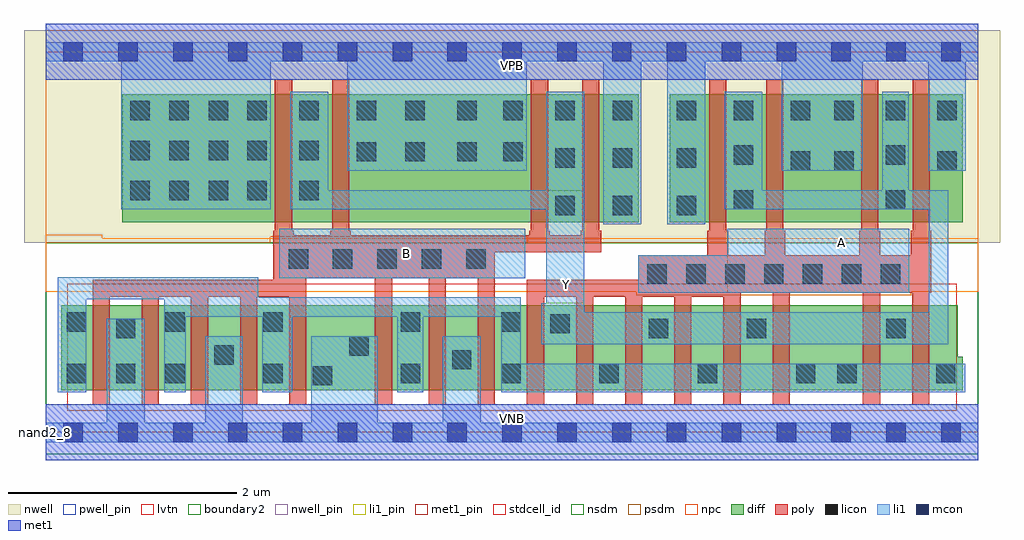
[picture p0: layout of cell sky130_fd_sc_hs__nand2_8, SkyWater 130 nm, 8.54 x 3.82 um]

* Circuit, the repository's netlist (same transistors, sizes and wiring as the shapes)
* Copyright 2020 The SkyWater PDK Authors
*
* Licensed under the Apache License, Version 2.0 (the "License");
* you may not use this file except in compliance with the License.
* You may obtain a copy of the License at
*
*     https://www.apache.org/licenses/LICENSE-2.0
*
* Unless required by applicable law or agreed to in writing, software
* distributed under the License is distributed on an "AS IS" BASIS,
* WITHOUT WARRANTIES OR CONDITIONS OF ANY KIND, either express or implied.
* See the License for the specific language governing permissions and
* limitations under the License.
*
* SPDX-License-Identifier: Apache-2.0


.subckt sky130_fd_sc_hs__nand2_8 A B VGND VNB VPB VPWR Y
X0 VGND B a_27_74# VNB sky130_fd_pr__nfet_01v8_lvt w=740000u l=150000u
X1 Y A a_27_74# VNB sky130_fd_pr__nfet_01v8_lvt w=740000u l=150000u
X2 Y B VPWR VPB sky130_fd_pr__pfet_01v8 w=1.12 l=150000u
X3 a_27_74# B VGND VNB sky130_fd_pr__nfet_01v8_lvt w=740000u l=150000u
X4 Y A a_27_74# VNB sky130_fd_pr__nfet_01v8_lvt w=740000u l=150000u
X5 VGND B a_27_74# VNB sky130_fd_pr__nfet_01v8_lvt w=740000u l=150000u
X6 a_27_74# B VGND VNB sky130_fd_pr__nfet_01v8_lvt w=740000u l=150000u
X7 a_27_74# A Y VNB sky130_fd_pr__nfet_01v8_lvt w=740000u l=150000u
X8 VPWR A Y VPB sky130_fd_pr__pfet_01v8 w=1.12 l=150000u
X9 Y A a_27_74# VNB sky130_fd_pr__nfet_01v8_lvt w=740000u l=150000u
X10 a_27_74# B VGND VNB sky130_fd_pr__nfet_01v8_lvt w=740000u l=150000u
X11 a_27_74# A Y VNB sky130_fd_pr__nfet_01v8_lvt w=740000u l=150000u
X12 VPWR B Y VPB sky130_fd_pr__pfet_01v8 w=1.12 l=150000u
X13 VPWR B Y VPB sky130_fd_pr__pfet_01v8 w=1.12 l=150000u
X14 a_27_74# B VGND VNB sky130_fd_pr__nfet_01v8_lvt w=740000u l=150000u
X15 VPWR A Y VPB sky130_fd_pr__pfet_01v8 w=1.12 l=150000u
X16 VGND B a_27_74# VNB sky130_fd_pr__nfet_01v8_lvt w=740000u l=150000u
X17 VGND B a_27_74# VNB sky130_fd_pr__nfet_01v8_lvt w=740000u l=150000u
X18 a_27_74# A Y VNB sky130_fd_pr__nfet_01v8_lvt w=740000u l=150000u
X19 Y B VPWR VPB sky130_fd_pr__pfet_01v8 w=1.12 l=150000u
X20 a_27_74# A Y VNB sky130_fd_pr__nfet_01v8_lvt w=740000u l=150000u
X21 Y A VPWR VPB sky130_fd_pr__pfet_01v8 w=1.12 l=150000u
X22 Y A a_27_74# VNB sky130_fd_pr__nfet_01v8_lvt w=740000u l=150000u
X23 Y A VPWR VPB sky130_fd_pr__pfet_01v8 w=1.12 l=150000u
.ends

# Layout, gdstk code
import gdstk
lib = gdstk.Library(unit=1e-6, precision=1e-09)
def R(c, l, rs):  # rectangles x0, y0, x1, y1
    for r in rs: c.add(gdstk.rectangle(r[:2], r[2:], *l))
def A(c, l, x, y, w, h, nx, ny, dx, dy):  # array of equal rectangles
    R(c, l, [(x+i*dx, y+j*dy, x+i*dx+w, y+j*dy+h) for i in range(nx) for j in range(ny)])
def P(c, l, *ps):  # polygons
    for p in ps: c.add(gdstk.Polygon(p, *l))
nwell_pin = (64, 16)
nwell = (64, 20)
diff = (65, 20)
poly = (66, 20)
licon = (66, 44)
li1_pin = (67, 16)
li1 = (67, 20)
mcon = (67, 44)
met1_pin = (68, 16)
met1 = (68, 20)
stdcell_id = (81, 4)
nsdm = (93, 44)
psdm = (94, 20)
npc = (95, 20)
pwell_pin = (122, 16)
lvtn = (125, 44)
boundary2 = (236, 0)

sky130_fd_sc_hs__nand2_8 = lib.new_cell('sky130_fd_sc_hs__nand2_8')
R(sky130_fd_sc_hs__nand2_8, nwell_pin, [(0,3.085,8.16,3.33)])
R(sky130_fd_sc_hs__nand2_8, nwell, [(-0.19,1.66,8.35,3.52)])
R(sky130_fd_sc_hs__nand2_8, diff, [(0.67,1.84,5.19,2.96), (5.46,1.84,8.025,2.96)])
P(sky130_fd_sc_hs__nand2_8, diff, [(0.135,0.37),(0.135,1.11),(7.98,1.11),(7.98,0.66),(8.025,0.66),(8.025,0.37)])
P(sky130_fd_sc_hs__nand2_8, poly, [(0.41,0.24),(0.41,1.335),(1.99,1.335),(1.99,1.765),(2.005,1.765),(2.005,3.09),(2.155,3.09),(2.155,1.765),(2.17,1.765),(2.17,1.725),(2.49,1.725),(2.49,1.765),(2.505,1.765),(2.505,3.09),(2.655,3.09),(2.655,1.765),(2.67,1.765),(2.67,1.725),(4.23,1.725),(4.23,1.765),(4.245,1.765),(4.245,3.09),(4.395,3.09),(4.395,1.765),(4.41,1.765),(4.41,1.725),(4.68,1.725),(4.68,1.765),(4.695,1.765),(4.695,3.09),(4.845,3.09),(4.845,1.765),(4.86,1.765),(4.86,1.575),(3.93,1.575),(3.93,0.24),(3.78,0.24),(3.78,1.35),(3.5,1.35),(3.5,0.24),(3.35,0.24),(3.35,1.35),(3.03,1.35),(3.03,0.24),(2.88,0.24),(2.88,1.35),(2.28,1.35),(2.28,0.24),(2.13,0.24),(2.13,1.185),(1.85,1.185),(1.85,0.24),(1.7,0.24),(1.7,1.185),(1.42,1.185),(1.42,0.24),(1.27,0.24),(1.27,1.185),(0.99,1.185),(0.99,0.24),(0.84,0.24),(0.84,1.185),(0.56,1.185),(0.56,0.24)],
  [(4.21,0.24),(4.21,1.335),(5.185,1.335),(5.185,1.55),(5.79,1.55),(5.79,1.765),(5.805,1.765),(5.805,3.09),(5.955,3.09),(5.955,1.765),(5.97,1.765),(5.97,1.55),(6.29,1.55),(6.29,1.765),(6.305,1.765),(6.305,3.09),(6.455,3.09),(6.455,1.765),(6.47,1.765),(6.47,1.55),(7.12,1.55),(7.12,1.765),(7.135,1.765),(7.135,3.09),(7.285,3.09),(7.285,1.765),(7.3,1.765),(7.3,1.55),(7.57,1.55),(7.57,1.765),(7.585,1.765),(7.585,3.09),(7.735,3.09),(7.735,1.765),(7.75,1.765),(7.75,1.22),(7.73,1.22),(7.73,0.24),(7.58,0.24),(7.58,1.22),(7.3,1.22),(7.3,0.24),(7.15,0.24),(7.15,1.22),(6.51,1.22),(6.51,0.24),(6.36,0.24),(6.36,1.22),(6.08,1.22),(6.08,0.24),(5.93,0.24),(5.93,1.185),(5.65,1.185),(5.65,0.24),(5.5,0.24),(5.5,1.185),(5.22,1.185),(5.22,0.24),(5.07,0.24),(5.07,1.185),(4.79,1.185),(4.79,0.24),(4.64,0.24),(4.64,1.185),(4.36,1.185),(4.36,0.24)])
A(sky130_fd_sc_hs__nand2_8, licon, 0.185, 0.43, 0.17, 0.17, 3, 1, 0.43, 0)
A(sky130_fd_sc_hs__nand2_8, licon, 3.985, 0.43, 0.17, 0.17, 4, 1, 0.86, 0)
A(sky130_fd_sc_hs__nand2_8, licon, 0.185, 0.88, 0.17, 0.17, 3, 1, 0.86, 0)
A(sky130_fd_sc_hs__nand2_8, licon, 5.265, 1.3, 0.17, 0.17, 7, 1, 0.34, 0)
A(sky130_fd_sc_hs__nand2_8, licon, 2.51, 1.43, 0.17, 0.17, 4, 1, 0.39, 0)
A(sky130_fd_sc_hs__nand2_8, licon, 4.46, 1.9, 0.17, 0.17, 1, 3, 0, 0.415)
A(sky130_fd_sc_hs__nand2_8, licon, 4.96, 1.9, 0.17, 0.17, 1, 3, 0, 0.415)
A(sky130_fd_sc_hs__nand2_8, licon, 0.74, 2.03, 0.17, 0.17, 1, 3, 0, 0.35)
A(sky130_fd_sc_hs__nand2_8, licon, 1.08, 2.03, 0.17, 0.17, 1, 3, 0, 0.35)
A(sky130_fd_sc_hs__nand2_8, licon, 1.425, 2.03, 0.17, 0.17, 1, 3, 0, 0.35)
A(sky130_fd_sc_hs__nand2_8, licon, 1.765, 2.03, 0.17, 0.17, 1, 3, 0, 0.35)
A(sky130_fd_sc_hs__nand2_8, licon, 2.22, 2.03, 0.17, 0.17, 1, 3, 0, 0.35)
A(sky130_fd_sc_hs__nand2_8, licon, 5.52, 2.73, 0.17, 0.17, 3, 1, 0.5, 0)
A(sky130_fd_sc_hs__nand2_8, licon, 6.9, 2.73, 0.17, 0.17, 3, 1, 0.45, 0)
R(sky130_fd_sc_hs__nand2_8, licon, [(2.335,0.41,2.505,0.58), (1.905,0.43,2.075,0.6), (3.105,0.43,3.275,0.6), (6.925,0.43,7.095,0.6), (7.79,0.43,7.96,0.6), (3.555,0.55,3.725,0.72), (1.475,0.59,1.645,0.76), (2.655,0.67,2.825,0.84), (0.615,0.825,0.785,0.995), (5.275,0.825,5.445,0.995), (6.135,0.825,6.305,0.995), (7.355,0.825,7.525,0.995), (4.415,0.865,4.585,1.035), (3.105,0.88,3.275,1.05), (3.985,0.88,4.155,1.05), (2.125,1.43,2.295,1.6), (5.52,1.9,5.69,2.07), (6.02,1.95,6.19,2.12), (7.35,1.95,7.52,2.12), (6.52,2.29,6.69,2.46), (6.9,2.29,7.07,2.46), (7.8,2.29,7.97,2.46), (5.52,2.315,5.69,2.485), (6.02,2.34,6.19,2.51), (7.35,2.34,7.52,2.51), (2.72,2.37,2.89,2.54), (3.145,2.37,3.315,2.54), (3.6,2.37,3.77,2.54), (4.005,2.37,4.175,2.54), (2.72,2.73,2.89,2.9), (3.145,2.73,3.315,2.9), (3.6,2.73,3.77,2.9), (4.005,2.73,4.175,2.9)])
R(sky130_fd_sc_hs__nand2_8, li1_pin, [(4.38,1.13,4.71,2.12), (5.965,1.22,7.555,1.78), (2.045,1.35,4.195,1.78)])
R(sky130_fd_sc_hs__nand2_8, li1, [(2.045,1.35,4.195,1.78)])
P(sky130_fd_sc_hs__nand2_8, li1, [(4.88,1.82),(4.88,3.245),(4.21,3.245),(4.21,2.29),(2.64,2.29),(2.64,3.245),(1.97,3.245),(1.97,1.95),(0.66,1.95),(0.66,3.245),(0,3.245),(0,3.415),(8.16,3.415),(8.16,3.245),(8.05,3.245),(8.05,2.29),(7.72,2.29),(7.72,3.245),(7.15,3.245),(7.15,2.29),(6.44,2.29),(6.44,3.245),(5.77,3.245),(5.77,1.82),(5.44,1.82),(5.44,3.245),(5.21,3.245),(5.21,1.82)],
  [(0,-0.085),(0,0.085),(0.535,0.085),(0.535,0.995),(0.865,0.995),(0.865,0.085),(1.395,0.085),(1.395,0.84),(1.725,0.84),(1.725,0.085),(2.325,0.085),(2.325,0.84),(2.905,0.84),(2.905,0.085),(3.475,0.085),(3.475,0.84),(3.805,0.84),(3.805,0.085),(8.16,0.085),(8.16,-0.085)],
  [(5.185,1.22),(5.185,1.55),(5.965,1.55),(5.965,1.78),(7.555,1.78),(7.555,1.22)],
  [(0.105,0.35),(0.105,1.355),(1.86,1.355),(1.86,1.18),(4.155,1.18),(4.155,0.6),(8.045,0.6),(8.045,0.35),(3.985,0.35),(3.985,1.01),(3.305,1.01),(3.305,0.35),(3.075,0.35),(3.075,1.01),(2.155,1.01),(2.155,0.35),(1.895,0.35),(1.895,1.01),(1.225,1.01),(1.225,0.35),(1.035,0.35),(1.035,1.165),(0.355,1.165),(0.355,0.35)],
  [(4.335,0.77),(4.335,1.13),(4.38,1.13),(4.38,1.95),(2.14,1.95),(2.14,2.98),(2.47,2.98),(2.47,2.12),(4.38,2.12),(4.38,2.98),(4.71,2.98),(4.71,1.05),(7.725,1.05),(7.725,1.95),(5.94,1.95),(5.94,2.98),(6.27,2.98),(6.27,2.12),(7.32,2.12),(7.32,2.98),(7.55,2.98),(7.55,2.12),(7.895,2.12),(7.895,0.77)])
A(sky130_fd_sc_hs__nand2_8, mcon, 0.155, -0.085, 0.17, 0.17, 17, 2, 0.48, 3.33)
R(sky130_fd_sc_hs__nand2_8, met1_pin, [(0,-0.245,8.16,0.245), (0,3.085,8.16,3.33), (0,3.085,8.16,3.575)])
R(sky130_fd_sc_hs__nand2_8, met1, [(0,-0.245,8.16,0.245), (0,3.085,8.16,3.575)])
R(sky130_fd_sc_hs__nand2_8, stdcell_id, [(0,0,8.16,3.33)])
R(sky130_fd_sc_hs__nand2_8, nsdm, [(0,-0.19,8.16,1.66)])
P(sky130_fd_sc_hs__nand2_8, psdm, [(0,1.66),(0,3.52),(8.16,3.52),(8.16,1.66),(4.215,1.66),(4.215,1.71),(1.965,1.71),(1.965,1.66)])
P(sky130_fd_sc_hs__nand2_8, npc, [(5.165,1.2),(5.165,1.23),(0,1.23),(0,1.73),(0.495,1.73),(0.495,1.7),(8.16,1.7),(8.16,1.23),(7.575,1.23),(7.575,1.2)])
R(sky130_fd_sc_hs__nand2_8, pwell_pin, [(0,0,8.16,0.245)])
R(sky130_fd_sc_hs__nand2_8, lvtn, [(0.19,0.19,7.97,1.3)])
R(sky130_fd_sc_hs__nand2_8, boundary2, [(0,0,8.16,3.33)])
sky130_fd_sc_hs__nand2_8.add(gdstk.Label('nand2_8', (0,0), layer=83, texttype=44))
sky130_fd_sc_hs__nand2_8.add(gdstk.Label('VNB', (4.08,0.123), layer=64, texttype=59))
sky130_fd_sc_hs__nand2_8.add(gdstk.Label('VPB', (4.08,3.208), layer=64, texttype=5))
sky130_fd_sc_hs__nand2_8.add(gdstk.Label('VPWR', (4.08,3.208), layer=68, texttype=5))
sky130_fd_sc_hs__nand2_8.add(gdstk.Label('VGND', (4.08,0.123), layer=68, texttype=5))
sky130_fd_sc_hs__nand2_8.add(gdstk.Label('B', (3.156,1.562), layer=67, texttype=5))
sky130_fd_sc_hs__nand2_8.add(gdstk.Label('A', (6.96,1.665), layer=67, texttype=5))
sky130_fd_sc_hs__nand2_8.add(gdstk.Label('Y', (4.56,1.295), layer=67, texttype=5))

lib.write_gds('sky130_fd_sc_hs__nand2_8.gds')
